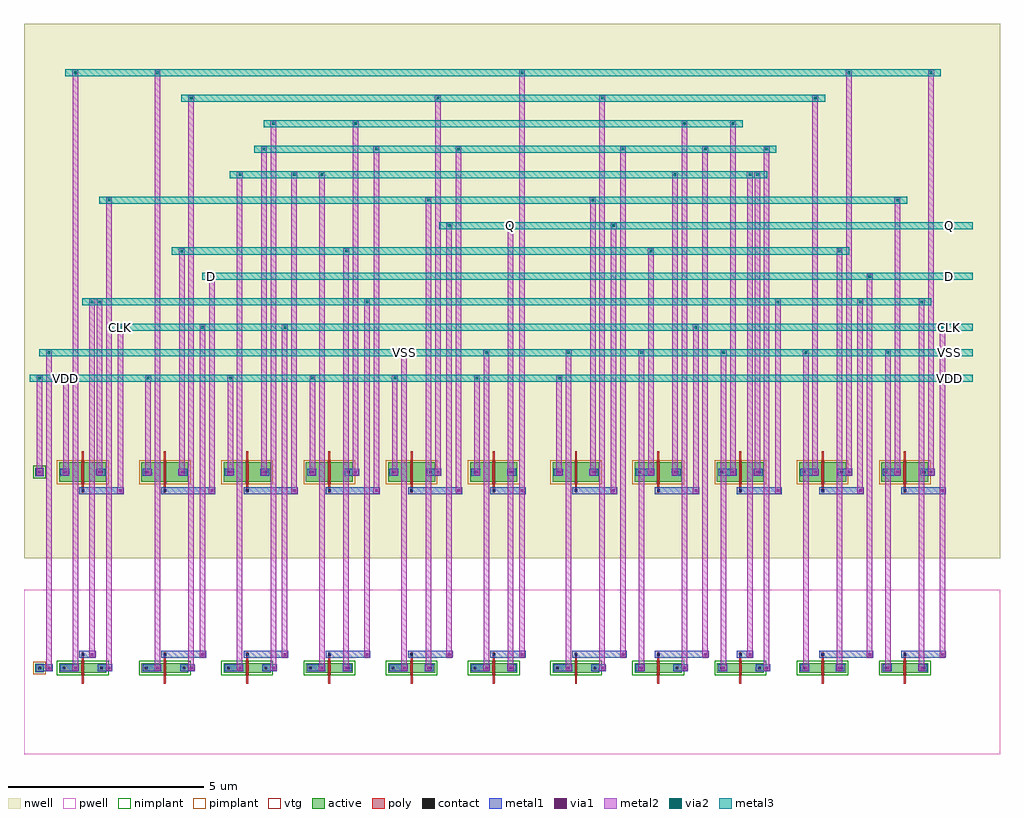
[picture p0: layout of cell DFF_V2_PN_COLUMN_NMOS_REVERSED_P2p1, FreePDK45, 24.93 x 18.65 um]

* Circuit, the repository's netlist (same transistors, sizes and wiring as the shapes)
* cell DFF_V2_PN_COLUMN_NMOS_REVERSED_P2p1
* pin Q
* pin CLK
* pin D
* pin VDD
* pin VSS
.SUBCKT DFF_V2_PN_COLUMN_NMOS_REVERSED_P2p1 6 8 9 12 13
* net 6 Q
* net 8 CLK
* net 9 D
* net 12 VDD
* net 13 VSS
* device instance $1 r0 *1 22.2,7 PMOS_VTG
M$1 1 8 2 12 PMOS_VTG L=0.05U W=0.5U AS=0.2875P AD=0.2875P PS=2.15U PD=2.15U
* device instance $2 r0 *1 18,7 PMOS_VTG
M$2 4 7 5 12 PMOS_VTG L=0.05U W=0.5U AS=0.2875P AD=0.2875P PS=2.15U PD=2.15U
* device instance $3 r0 *1 15.9,7 PMOS_VTG
M$3 4 8 10 12 PMOS_VTG L=0.05U W=0.5U AS=0.2875P AD=0.2875P PS=2.15U PD=2.15U
* device instance $4 r0 *1 13.8,7 PMOS_VTG
M$4 2 6 12 12 PMOS_VTG L=0.05U W=0.5U AS=0.2875P AD=0.2875P PS=2.15U PD=2.15U
* device instance $5 r0 *1 20.1,7 PMOS_VTG
M$5 1 7 3 12 PMOS_VTG L=0.05U W=0.5U AS=0.2875P AD=0.2875P PS=2.15U PD=2.15U
* device instance $6 r0 *1 1.2,7 PMOS_VTG
M$6 7 8 12 12 PMOS_VTG L=0.05U W=0.5U AS=0.2875P AD=0.2875P PS=2.15U PD=2.15U
* device instance $7 r0 *1 3.3,7 PMOS_VTG
M$7 10 9 12 12 PMOS_VTG L=0.05U W=0.5U AS=0.2875P AD=0.2875P PS=2.15U PD=2.15U
* device instance $8 r0 *1 5.4,7 PMOS_VTG
M$8 11 4 12 12 PMOS_VTG L=0.05U W=0.5U AS=0.2875P AD=0.2875P PS=2.15U PD=2.15U
* device instance $9 r0 *1 7.5,7 PMOS_VTG
M$9 5 11 12 12 PMOS_VTG L=0.05U W=0.5U AS=0.2875P AD=0.2875P PS=2.15U PD=2.15U
* device instance $10 r0 *1 9.6,7 PMOS_VTG
M$10 3 11 12 12 PMOS_VTG L=0.05U W=0.5U AS=0.2875P AD=0.2875P PS=2.15U PD=2.15U
* device instance $11 r0 *1 11.7,7 PMOS_VTG
M$11 6 1 12 12 PMOS_VTG L=0.05U W=0.5U AS=0.2875P AD=0.2875P PS=2.15U PD=2.15U
* device instance $12 r0 *1 22.2,2 NMOS_VTG
M$12 7 8 13 13 NMOS_VTG L=0.05U W=0.25U AS=0.14375P AD=0.14375P PS=1.65U
+ PD=1.65U
* device instance $13 r0 *1 18,2 NMOS_VTG
M$13 11 4 13 13 NMOS_VTG L=0.05U W=0.25U AS=0.14375P AD=0.14375P PS=1.65U
+ PD=1.65U
* device instance $14 r0 *1 15.9,2 NMOS_VTG
M$14 5 11 13 13 NMOS_VTG L=0.05U W=0.25U AS=0.14375P AD=0.14375P PS=1.65U
+ PD=1.65U
* device instance $15 r0 *1 20.1,2 NMOS_VTG
M$15 10 9 13 13 NMOS_VTG L=0.05U W=0.25U AS=0.14375P AD=0.14375P PS=1.65U
+ PD=1.65U
* device instance $16 r0 *1 13.8,2 NMOS_VTG
M$16 3 11 13 13 NMOS_VTG L=0.05U W=0.25U AS=0.14375P AD=0.14375P PS=1.65U
+ PD=1.65U
* device instance $17 r0 *1 1.2,2 NMOS_VTG
M$17 2 7 1 13 NMOS_VTG L=0.05U W=0.25U AS=0.14375P AD=0.14375P PS=1.65U PD=1.65U
* device instance $18 r0 *1 3.3,2 NMOS_VTG
M$18 3 8 1 13 NMOS_VTG L=0.05U W=0.25U AS=0.14375P AD=0.14375P PS=1.65U PD=1.65U
* device instance $19 r0 *1 5.4,2 NMOS_VTG
M$19 5 8 4 13 NMOS_VTG L=0.05U W=0.25U AS=0.14375P AD=0.14375P PS=1.65U PD=1.65U
* device instance $20 r0 *1 7.5,2 NMOS_VTG
M$20 10 7 4 13 NMOS_VTG L=0.05U W=0.25U AS=0.14375P AD=0.14375P PS=1.65U
+ PD=1.65U
* device instance $21 r0 *1 9.6,2 NMOS_VTG
M$21 2 6 13 13 NMOS_VTG L=0.05U W=0.25U AS=0.14375P AD=0.14375P PS=1.65U
+ PD=1.65U
* device instance $22 r0 *1 11.7,2 NMOS_VTG
M$22 6 1 13 13 NMOS_VTG L=0.05U W=0.25U AS=0.14375P AD=0.14375P PS=1.65U
+ PD=1.65U
.ENDS DFF_V2_PN_COLUMN_NMOS_REVERSED_P2p1

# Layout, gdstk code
import gdstk
lib = gdstk.Library(unit=1e-6, precision=5e-10)
def R(c, l, rs):  # rectangles x0, y0, x1, y1
    for r in rs: c.add(gdstk.rectangle(r[:2], r[2:], *l))
def A(c, l, x, y, w, h, nx, ny, dx, dy):  # array of equal rectangles
    R(c, l, [(x+i*dx, y+j*dy, x+i*dx+w, y+j*dy+h) for i in range(nx) for j in range(ny)])
active = (1, 0)
pwell = (2, 0)
nwell = (3, 0)
nimplant = (4, 0)
pimplant = (5, 0)
vtg = (6, 0)
poly = (9, 0)
contact = (10, 0)
metal1 = (11, 0)
via1 = (12, 0)
metal2 = (13, 0)
via2 = (14, 0)
metal3 = (15, 0)

dff_v2_pn_column_nmos_re = lib.new_cell('DFF_V2_PN_COLUMN_NMOS_REVERSED_P2p1')
A(dff_v2_pn_column_nmos_re, active, 0.6, 1.875, 1.2, 0.25, 11, 1, 2.1, 0)
A(dff_v2_pn_column_nmos_re, active, 0.6, 6.75, 1.2, 0.5, 11, 1, 2.1, 0)
R(dff_v2_pn_column_nmos_re, active, [(-0.01,1.89,0.21,2.11), (-0.01,6.89,0.21,7.11)])
R(dff_v2_pn_column_nmos_re, pwell, [(-0.3,-0.2,24.63,4)])
R(dff_v2_pn_column_nmos_re, nwell, [(-0.3,4.8,24.63,18.45)])
A(dff_v2_pn_column_nmos_re, nimplant, 0.54, 1.815, 1.32, 0.37, 11, 1, 2.1, 0)
R(dff_v2_pn_column_nmos_re, nimplant, [(-0.06,6.84,0.26,7.16)])
A(dff_v2_pn_column_nmos_re, pimplant, 0.54, 6.69, 1.32, 0.62, 11, 1, 2.1, 0)
R(dff_v2_pn_column_nmos_re, pimplant, [(-0.06,1.84,0.26,2.16)])
A(dff_v2_pn_column_nmos_re, vtg, 1.165, 1.845, 0.07, 0.31, 11, 1, 2.1, 0)
A(dff_v2_pn_column_nmos_re, vtg, 1.165, 6.72, 0.07, 0.56, 11, 1, 2.1, 0)
A(dff_v2_pn_column_nmos_re, poly, 1.175, 1.595, 0.05, 0.81, 11, 1, 2.1, 0)
A(dff_v2_pn_column_nmos_re, poly, 1.175, 6.47, 0.05, 1.06, 11, 1, 2.1, 0)
A(dff_v2_pn_column_nmos_re, contact, 1.17, 2.315, 0.065, 0.065, 11, 2, 2.1, 4.185)
R(dff_v2_pn_column_nmos_re, contact, [(0.07,1.97,0.135,2.035), (0.69,1.97,0.755,2.035), (1.65,1.97,1.715,2.035), (2.79,1.97,2.855,2.035), (3.75,1.97,3.815,2.035), (4.89,1.97,4.955,2.035), (5.85,1.97,5.915,2.035), (6.99,1.97,7.055,2.035), (7.95,1.97,8.015,2.035), (9.09,1.97,9.155,2.035), (10.05,1.97,10.115,2.035), (11.19,1.97,11.255,2.035), (12.15,1.97,12.215,2.035), (13.29,1.97,13.355,2.035), (14.25,1.97,14.315,2.035), (15.39,1.97,15.455,2.035), (16.35,1.97,16.415,2.035), (17.49,1.97,17.555,2.035), (18.45,1.97,18.515,2.035), (19.59,1.97,19.655,2.035), (20.55,1.97,20.615,2.035), (21.69,1.97,21.755,2.035), (22.65,1.97,22.715,2.035), (0.07,6.97,0.135,7.035), (0.69,6.97,0.755,7.035), (1.65,6.97,1.715,7.035), (2.79,6.97,2.855,7.035), (3.75,6.97,3.815,7.035), (4.89,6.97,4.955,7.035), (5.85,6.97,5.915,7.035), (6.99,6.97,7.055,7.035), (7.95,6.97,8.015,7.035), (9.09,6.97,9.155,7.035), (10.05,6.97,10.115,7.035), (11.19,6.97,11.255,7.035), (12.15,6.97,12.215,7.035), (13.29,6.97,13.355,7.035), (14.25,6.97,14.315,7.035), (15.39,6.97,15.455,7.035), (16.35,6.97,16.415,7.035), (17.49,6.97,17.555,7.035), (18.45,6.97,18.515,7.035), (19.59,6.97,19.655,7.035), (20.55,6.97,20.615,7.035), (21.69,6.97,21.755,7.035), (22.65,6.97,22.715,7.035)])
A(dff_v2_pn_column_nmos_re, metal1, 7.07, 1.91, 0.24, 0.18, 4, 1, 2.1, 0)
A(dff_v2_pn_column_nmos_re, metal1, 14.23, 1.91, 0.24, 0.18, 3, 1, 2.1, 0)
A(dff_v2_pn_column_nmos_re, metal1, 3.3, 2.255, 0.96, 0.18, 4, 1, 2.1, 0)
A(dff_v2_pn_column_nmos_re, metal1, 3.3, 6.44, 1.2, 0.18, 4, 1, 2.1, 0)
A(dff_v2_pn_column_nmos_re, metal1, 13.8, 6.44, 0.96, 0.18, 5, 1, 2.1, 0)
A(dff_v2_pn_column_nmos_re, metal1, 15.47, 6.91, 0.24, 0.18, 3, 1, 2.1, 0)
R(dff_v2_pn_column_nmos_re, metal1, [(0,1.9,0.2,2.1), (0.1,1.91,0.34,2.09), (0.1,1.91,0.34,2.09), (0.1,1.91,0.34,2.09), (0.1,1.91,0.34,2.09), (0.1,1.91,0.34,2.09), (0.1,1.91,0.34,2.09), (0.1,1.91,0.34,2.09), (0.1,1.91,0.34,2.09), (0.1,1.91,0.34,2.09), (0.1,1.91,0.34,2.09), (0.1,1.91,0.34,2.09), (0.1,1.91,0.34,2.09), (0.25,1.91,0.43,2.09), (0.25,1.91,0.43,2.09), (0.25,1.91,0.43,2.09), (0.25,1.91,0.43,2.09), (0.25,1.91,0.43,2.09), (0.25,1.91,0.43,2.09), (0.25,1.91,0.43,2.09), (0.25,1.91,0.43,2.09), (0.25,1.91,0.43,2.09), (0.25,1.91,0.43,2.09), (0.25,1.91,0.43,2.09), (0.25,1.91,0.43,2.09), (0.63,1.91,0.81,2.09), (0.77,1.91,1.01,2.09), (0.92,1.91,1.1,2.09), (1.59,1.91,1.77,2.09), (1.63,1.91,1.87,2.09), (1.78,1.91,1.96,2.09), (2.73,1.91,2.91,2.09), (2.87,1.91,3.11,2.09), (3.02,1.91,3.2,2.09), (3.69,1.91,3.87,2.09), (3.73,1.91,3.97,2.09), (3.88,1.91,4.06,2.09), (4.83,1.91,5.01,2.09), (4.97,1.91,5.21,2.09), (5.12,1.91,5.3,2.09), (5.79,1.91,5.97,2.09), (5.83,1.91,6.07,2.09), (5.98,1.91,6.16,2.09), (6.93,1.91,7.11,2.09), (7.22,1.91,7.4,2.09), (7.84,1.91,8.02,2.09), (7.89,1.91,8.07,2.09), (9.03,1.91,9.21,2.09), (9.32,1.91,9.5,2.09), (9.94,1.91,10.12,2.09), (9.99,1.91,10.17,2.09), (11.13,1.91,11.31,2.09), (11.42,1.91,11.6,2.09), (12.04,1.91,12.22,2.09), (12.09,1.91,12.27,2.09), (13.23,1.91,13.41,2.09), (13.52,1.91,13.7,2.09), (14.19,1.91,14.37,2.09), (14.38,1.91,14.56,2.09), (15.33,1.91,15.51,2.09), (15.38,1.91,15.56,2.09), (16.29,1.91,16.47,2.09), (16.48,1.91,16.66,2.09), (17.43,1.91,17.61,2.09), (17.48,1.91,17.66,2.09), (18.39,1.91,18.57,2.09), (18.58,1.91,18.76,2.09), (19.53,1.91,19.71,2.09), (19.58,1.91,19.76,2.09), (20.44,1.91,20.62,2.09), (20.49,1.91,20.67,2.09), (21.63,1.91,21.81,2.09), (21.68,1.91,21.86,2.09), (22.54,1.91,22.72,2.09), (22.59,1.91,22.77,2.09), (1.11,2.255,1.29,2.435), (1.2,2.255,1.44,2.435), (1.35,2.255,1.53,2.435), (3.21,2.255,3.39,2.435), (4.17,2.255,4.35,2.435), (5.31,2.255,5.49,2.435), (6.27,2.255,6.45,2.435), (7.41,2.255,7.59,2.435), (8.37,2.255,8.55,2.435), (9.51,2.255,9.69,2.435), (10.47,2.255,10.65,2.435), (11.61,2.255,11.79,2.435), (11.7,2.255,12.42,2.435), (12.33,2.255,12.51,2.435), (13.71,2.255,13.89,2.435), (13.8,2.255,15,2.435), (14.91,2.255,15.09,2.435), (15.81,2.255,15.99,2.435), (15.9,2.255,17.1,2.435), (17.01,2.255,17.19,2.435), (17.91,2.255,18.09,2.435), (18,2.255,18.24,2.435), (18.15,2.255,18.33,2.435), (20.01,2.255,20.19,2.435), (20.1,2.255,21.3,2.435), (21.21,2.255,21.39,2.435), (22.11,2.255,22.29,2.435), (22.2,2.255,23.16,2.435), (23.07,2.255,23.25,2.435), (1.11,6.44,1.29,6.62), (1.2,6.44,2.16,6.62), (2.07,6.44,2.25,6.62), (3.21,6.44,3.39,6.62), (4.41,6.44,4.59,6.62), (5.31,6.44,5.49,6.62), (6.51,6.44,6.69,6.62), (7.41,6.44,7.59,6.62), (8.61,6.44,8.79,6.62), (9.51,6.44,9.69,6.62), (10.71,6.44,10.89,6.62), (11.61,6.44,11.79,6.62), (11.7,6.44,12.42,6.62), (12.33,6.44,12.51,6.62), (13.71,6.44,13.89,6.62), (14.67,6.44,14.85,6.62), (15.81,6.44,15.99,6.62), (16.77,6.44,16.95,6.62), (17.91,6.44,18.09,6.62), (18.87,6.44,19.05,6.62), (20.01,6.44,20.19,6.62), (20.97,6.44,21.15,6.62), (22.11,6.44,22.29,6.62), (23.07,6.44,23.25,6.62), (0,6.9,0.2,7.1), (0.01,6.91,0.19,7.09), (0.01,6.91,0.19,7.09), (0.01,6.91,0.19,7.09), (0.01,6.91,0.19,7.09), (0.01,6.91,0.19,7.09), (0.01,6.91,0.19,7.09), (0.01,6.91,0.19,7.09), (0.01,6.91,0.19,7.09), (0.01,6.91,0.19,7.09), (0.01,6.91,0.19,7.09), (0.01,6.91,0.19,7.09), (0.01,6.91,0.19,7.09), (0.63,6.91,0.81,7.09), (0.68,6.91,0.86,7.09), (1.54,6.91,1.72,7.09), (1.59,6.91,1.77,7.09), (2.73,6.91,2.91,7.09), (2.78,6.91,2.96,7.09), (3.64,6.91,3.82,7.09), (3.69,6.91,3.87,7.09), (4.83,6.91,5.01,7.09), (4.88,6.91,5.06,7.09), (5.74,6.91,5.92,7.09), (5.79,6.91,5.97,7.09), (6.93,6.91,7.11,7.09), (6.98,6.91,7.16,7.09), (7.89,6.91,8.07,7.09), (7.93,6.91,8.17,7.09), (8.08,6.91,8.26,7.09), (9.03,6.91,9.21,7.09), (9.08,6.91,9.26,7.09), (9.99,6.91,10.17,7.09), (10.03,6.91,10.27,7.09), (10.18,6.91,10.36,7.09), (11.13,6.91,11.31,7.09), (11.18,6.91,11.36,7.09), (12.04,6.91,12.22,7.09), (12.09,6.91,12.27,7.09), (13.23,6.91,13.41,7.09), (13.28,6.91,13.46,7.09), (14.14,6.91,14.32,7.09), (14.19,6.91,14.37,7.09), (15.33,6.91,15.51,7.09), (15.62,6.91,15.8,7.09), (16.24,6.91,16.42,7.09), (16.29,6.91,16.47,7.09), (17.43,6.91,17.61,7.09), (17.72,6.91,17.9,7.09), (18.34,6.91,18.52,7.09), (18.39,6.91,18.57,7.09), (19.53,6.91,19.71,7.09), (19.82,6.91,20,7.09), (20.49,6.91,20.67,7.09), (20.53,6.91,20.77,7.09), (20.68,6.91,20.86,7.09), (21.63,6.91,21.81,7.09), (21.77,6.91,22.01,7.09), (21.92,6.91,22.1,7.09), (22.59,6.91,22.77,7.09), (22.63,6.91,22.87,7.09), (22.78,6.91,22.96,7.09)])
A(dff_v2_pn_column_nmos_re, via1, 4.23, 2.315, 0.065, 0.065, 4, 1, 2.1, 0)
A(dff_v2_pn_column_nmos_re, via1, 4.47, 6.5, 0.065, 0.065, 4, 1, 2.1, 0)
A(dff_v2_pn_column_nmos_re, via1, 14.73, 6.5, 0.065, 0.065, 5, 1, 2.1, 0)
R(dff_v2_pn_column_nmos_re, via1, [(0.31,1.97,0.375,2.035), (0.31,1.97,0.375,2.035), (0.31,1.97,0.375,2.035), (0.31,1.97,0.375,2.035), (0.31,1.97,0.375,2.035), (0.31,1.97,0.375,2.035), (0.31,1.97,0.375,2.035), (0.31,1.97,0.375,2.035), (0.31,1.97,0.375,2.035), (0.31,1.97,0.375,2.035), (0.31,1.97,0.375,2.035), (0.31,1.97,0.375,2.035), (0.98,1.97,1.045,2.035), (1.84,1.97,1.905,2.035), (3.08,1.97,3.145,2.035), (3.94,1.97,4.005,2.035), (5.18,1.97,5.245,2.035), (6.04,1.97,6.105,2.035), (7.28,1.97,7.345,2.035), (7.9,1.97,7.965,2.035), (9.38,1.97,9.445,2.035), (10,1.97,10.065,2.035), (11.48,1.97,11.545,2.035), (12.1,1.97,12.165,2.035), (13.58,1.97,13.645,2.035), (14.44,1.97,14.505,2.035), (15.44,1.97,15.505,2.035), (16.54,1.97,16.605,2.035), (17.54,1.97,17.605,2.035), (18.64,1.97,18.705,2.035), (19.64,1.97,19.705,2.035), (20.5,1.97,20.565,2.035), (21.74,1.97,21.805,2.035), (22.6,1.97,22.665,2.035), (1.41,2.315,1.475,2.38), (12.39,2.315,12.455,2.38), (14.97,2.315,15.035,2.38), (17.07,2.315,17.135,2.38), (18.21,2.315,18.275,2.38), (21.27,2.315,21.335,2.38), (23.13,2.315,23.195,2.38), (2.13,6.5,2.195,6.565), (12.39,6.5,12.455,6.565), (0.07,6.97,0.135,7.035), (0.07,6.97,0.135,7.035), (0.07,6.97,0.135,7.035), (0.07,6.97,0.135,7.035), (0.07,6.97,0.135,7.035), (0.07,6.97,0.135,7.035), (0.07,6.97,0.135,7.035), (0.07,6.97,0.135,7.035), (0.07,6.97,0.135,7.035), (0.07,6.97,0.135,7.035), (0.07,6.97,0.135,7.035), (0.07,6.97,0.135,7.035), (0.74,6.97,0.805,7.035), (1.6,6.97,1.665,7.035), (2.84,6.97,2.905,7.035), (3.7,6.97,3.765,7.035), (4.94,6.97,5.005,7.035), (5.8,6.97,5.865,7.035), (7.04,6.97,7.105,7.035), (8.14,6.97,8.205,7.035), (9.14,6.97,9.205,7.035), (10.24,6.97,10.305,7.035), (11.24,6.97,11.305,7.035), (12.1,6.97,12.165,7.035), (13.34,6.97,13.405,7.035), (14.2,6.97,14.265,7.035), (15.68,6.97,15.745,7.035), (16.3,6.97,16.365,7.035), (17.78,6.97,17.845,7.035), (18.4,6.97,18.465,7.035), (19.88,6.97,19.945,7.035), (20.74,6.97,20.805,7.035), (21.98,6.97,22.045,7.035), (22.84,6.97,22.905,7.035)])
A(dff_v2_pn_column_nmos_re, metal2, 9.34, 2, 0.14, 8.05, 3, 1, 2.1, 0)
A(dff_v2_pn_column_nmos_re, metal2, 15.4, 2, 0.14, 8.05, 4, 1, 2.1, 0)
A(dff_v2_pn_column_nmos_re, metal2, 4.185, 2.27, 0.15, 0.15, 4, 1, 2.1, 0)
A(dff_v2_pn_column_nmos_re, metal2, 4.425, 6.455, 0.15, 0.15, 4, 1, 2.1, 0)
A(dff_v2_pn_column_nmos_re, metal2, 14.685, 6.455, 0.15, 0.15, 5, 1, 2.1, 0)
A(dff_v2_pn_column_nmos_re, metal2, 0.7, 7, 0.14, 2.4, 7, 1, 2.1, 0)
A(dff_v2_pn_column_nmos_re, metal2, 0.695, 9.325, 0.15, 0.15, 7, 1, 2.1, 0)
A(dff_v2_pn_column_nmos_re, metal2, 9.335, 9.975, 0.15, 0.15, 3, 1, 2.1, 0)
A(dff_v2_pn_column_nmos_re, metal2, 15.395, 9.975, 0.15, 0.15, 4, 1, 2.1, 0)
A(dff_v2_pn_column_nmos_re, metal2, 2.085, 10.625, 0.15, 0.15, 3, 1, 2.1, 0)
R(dff_v2_pn_column_nmos_re, metal2, [(0.265,1.925,0.415,2.075), (0.265,1.925,0.415,2.075), (0.265,1.925,0.415,2.075), (0.265,1.925,0.415,2.075), (0.265,1.925,0.415,2.075), (0.265,1.925,0.415,2.075), (0.265,1.925,0.415,2.075), (0.265,1.925,0.415,2.075), (0.265,1.925,0.415,2.075), (0.265,1.925,0.415,2.075), (0.265,1.925,0.415,2.075), (0.265,1.925,0.415,2.075), (0.935,1.925,1.085,2.075), (1.795,1.925,1.945,2.075), (3.035,1.925,3.185,2.075), (3.895,1.925,4.045,2.075), (5.135,1.925,5.285,2.075), (5.995,1.925,6.145,2.075), (7.235,1.925,7.385,2.075), (7.855,1.925,8.005,2.075), (9.335,1.925,9.485,2.075), (9.955,1.925,10.105,2.075), (11.435,1.925,11.585,2.075), (12.055,1.925,12.205,2.075), (13.535,1.925,13.685,2.075), (14.395,1.925,14.545,2.075), (15.395,1.925,15.545,2.075), (16.495,1.925,16.645,2.075), (17.495,1.925,17.645,2.075), (18.595,1.925,18.745,2.075), (19.595,1.925,19.745,2.075), (20.455,1.925,20.605,2.075), (21.695,1.925,21.845,2.075), (22.555,1.925,22.705,2.075), (0.27,2,0.41,10.05), (0.27,2,0.41,10.05), (0.27,2,0.41,10.05), (0.27,2,0.41,10.05), (0.27,2,0.41,10.05), (0.27,2,0.41,10.05), (0.27,2,0.41,10.05), (0.27,2,0.41,10.05), (0.27,2,0.41,10.05), (0.27,2,0.41,10.05), (0.27,2,0.41,10.05), (0.27,2,0.41,10.05), (0.94,2,1.08,17.2), (1.8,2,1.94,13.95), (3.04,2,3.18,17.2), (3.9,2,4.04,16.55), (5.14,2,5.28,14.6), (6,2,6.14,15.9), (7.24,2,7.38,14.6), (7.86,2,8,12.65), (9.96,2,10.1,13.95), (12.06,2,12.2,13.3), (14.4,2,14.54,16.55), (16.5,2,16.64,15.9), (18.6,2,18.74,15.25), (20.46,2,20.6,12.65), (22.56,2,22.7,11.35), (1.365,2.27,1.515,2.42), (12.345,2.27,12.495,2.42), (14.925,2.27,15.075,2.42), (17.025,2.27,17.175,2.42), (18.165,2.27,18.315,2.42), (21.225,2.27,21.375,2.42), (23.085,2.27,23.235,2.42), (1.37,2.345,1.51,11.35), (4.19,2.345,4.33,10.7), (6.29,2.345,6.43,10.7), (8.39,2.345,8.53,11.35), (10.49,2.345,10.63,13.3), (12.35,2.345,12.49,17.2), (14.93,2.345,15.07,15.25), (17.03,2.345,17.17,15.25), (18.17,2.345,18.31,14.6), (21.23,2.345,21.37,12), (23.09,2.345,23.23,10.7), (2.085,6.455,2.235,6.605), (12.345,6.455,12.495,6.605), (2.09,6.53,2.23,10.7), (4.43,6.53,4.57,12), (6.53,6.53,6.67,14.6), (8.63,6.53,8.77,15.25), (10.73,6.53,10.87,15.25), (12.35,6.53,12.49,17.2), (14.69,6.53,14.83,13.3), (16.79,6.53,16.93,10.7), (18.89,6.53,19.03,11.35), (20.99,6.53,21.13,11.35), (23.09,6.53,23.23,10.7), (0.025,6.925,0.175,7.075), (0.025,6.925,0.175,7.075), (0.025,6.925,0.175,7.075), (0.025,6.925,0.175,7.075), (0.025,6.925,0.175,7.075), (0.025,6.925,0.175,7.075), (0.025,6.925,0.175,7.075), (0.025,6.925,0.175,7.075), (0.025,6.925,0.175,7.075), (0.025,6.925,0.175,7.075), (0.025,6.925,0.175,7.075), (0.025,6.925,0.175,7.075), (0.695,6.925,0.845,7.075), (1.555,6.925,1.705,7.075), (2.795,6.925,2.945,7.075), (3.655,6.925,3.805,7.075), (4.895,6.925,5.045,7.075), (5.755,6.925,5.905,7.075), (6.995,6.925,7.145,7.075), (8.095,6.925,8.245,7.075), (9.095,6.925,9.245,7.075), (10.195,6.925,10.345,7.075), (11.195,6.925,11.345,7.075), (12.055,6.925,12.205,7.075), (13.295,6.925,13.445,7.075), (14.155,6.925,14.305,7.075), (15.635,6.925,15.785,7.075), (16.255,6.925,16.405,7.075), (17.735,6.925,17.885,7.075), (18.355,6.925,18.505,7.075), (19.835,6.925,19.985,7.075), (20.695,6.925,20.845,7.075), (21.935,6.925,22.085,7.075), (22.795,6.925,22.945,7.075), (0.03,7,0.17,9.4), (0.03,7,0.17,9.4), (0.03,7,0.17,9.4), (0.03,7,0.17,9.4), (0.03,7,0.17,9.4), (0.03,7,0.17,9.4), (0.03,7,0.17,9.4), (0.03,7,0.17,9.4), (0.03,7,0.17,9.4), (0.03,7,0.17,9.4), (0.03,7,0.17,9.4), (0.03,7,0.17,9.4), (1.56,7,1.7,11.35), (3.66,7,3.8,12.65), (5.76,7,5.9,15.25), (8.1,7,8.24,15.9), (10.2,7,10.34,16.55), (12.06,7,12.2,13.3), (14.16,7,14.3,13.95), (15.64,7,15.78,12.65), (16.26,7,16.4,14.6), (17.74,7,17.88,15.9), (18.36,7,18.5,14.6), (19.84,7,19.98,16.55), (20.7,7,20.84,17.2), (21.94,7,22.08,13.95), (22.8,7,22.94,17.2), (0.025,9.325,0.175,9.475), (0.025,9.325,0.175,9.475), (0.025,9.325,0.175,9.475), (0.025,9.325,0.175,9.475), (0.025,9.325,0.175,9.475), (0.025,9.325,0.175,9.475), (0.025,9.325,0.175,9.475), (0.025,9.325,0.175,9.475), (0.025,9.325,0.175,9.475), (0.025,9.325,0.175,9.475), (0.025,9.325,0.175,9.475), (0.025,9.325,0.175,9.475), (0.265,9.975,0.415,10.125), (0.265,9.975,0.415,10.125), (0.265,9.975,0.415,10.125), (0.265,9.975,0.415,10.125), (0.265,9.975,0.415,10.125), (0.265,9.975,0.415,10.125), (0.265,9.975,0.415,10.125), (0.265,9.975,0.415,10.125), (0.265,9.975,0.415,10.125), (0.265,9.975,0.415,10.125), (0.265,9.975,0.415,10.125), (0.265,9.975,0.415,10.125), (16.785,10.625,16.935,10.775), (23.085,10.625,23.235,10.775), (23.085,10.625,23.235,10.775), (1.365,11.275,1.515,11.425), (1.555,11.275,1.705,11.425), (8.385,11.275,8.535,11.425), (18.885,11.275,19.035,11.425), (20.985,11.275,21.135,11.425), (22.555,11.275,22.705,11.425), (4.425,11.925,4.575,12.075), (21.225,11.925,21.375,12.075), (3.655,12.575,3.805,12.725), (7.855,12.575,8.005,12.725), (15.635,12.575,15.785,12.725), (20.455,12.575,20.605,12.725), (10.485,13.225,10.635,13.375), (12.055,13.225,12.205,13.375), (12.055,13.225,12.205,13.375), (14.685,13.225,14.835,13.375), (1.795,13.875,1.945,14.025), (9.955,13.875,10.105,14.025), (14.155,13.875,14.305,14.025), (21.935,13.875,22.085,14.025), (5.135,14.525,5.285,14.675), (6.525,14.525,6.675,14.675), (7.235,14.525,7.385,14.675), (16.255,14.525,16.405,14.675), (18.165,14.525,18.315,14.675), (18.355,14.525,18.505,14.675), (5.755,15.175,5.905,15.325), (8.625,15.175,8.775,15.325), (10.725,15.175,10.875,15.325), (14.925,15.175,15.075,15.325), (17.025,15.175,17.175,15.325), (18.595,15.175,18.745,15.325), (5.995,15.825,6.145,15.975), (8.095,15.825,8.245,15.975), (16.495,15.825,16.645,15.975), (17.735,15.825,17.885,15.975), (3.895,16.475,4.045,16.625), (10.195,16.475,10.345,16.625), (14.395,16.475,14.545,16.625), (19.835,16.475,19.985,16.625), (0.935,17.125,1.085,17.275), (3.035,17.125,3.185,17.275), (12.345,17.125,12.495,17.275), (12.345,17.125,12.495,17.275), (20.695,17.125,20.845,17.275), (22.795,17.125,22.945,17.275)])
A(dff_v2_pn_column_nmos_re, via2, 0.74, 9.37, 0.065, 0.065, 7, 1, 2.1, 0)
A(dff_v2_pn_column_nmos_re, via2, 9.38, 10.02, 0.065, 0.065, 3, 1, 2.1, 0)
A(dff_v2_pn_column_nmos_re, via2, 15.44, 10.02, 0.065, 0.065, 4, 1, 2.1, 0)
A(dff_v2_pn_column_nmos_re, via2, 2.13, 10.67, 0.065, 0.065, 3, 1, 2.1, 0)
R(dff_v2_pn_column_nmos_re, via2, [(0.07,9.37,0.135,9.435), (0.07,9.37,0.135,9.435), (0.07,9.37,0.135,9.435), (0.07,9.37,0.135,9.435), (0.07,9.37,0.135,9.435), (0.07,9.37,0.135,9.435), (0.07,9.37,0.135,9.435), (0.07,9.37,0.135,9.435), (0.07,9.37,0.135,9.435), (0.07,9.37,0.135,9.435), (0.07,9.37,0.135,9.435), (0.07,9.37,0.135,9.435), (0.31,10.02,0.375,10.085), (0.31,10.02,0.375,10.085), (0.31,10.02,0.375,10.085), (0.31,10.02,0.375,10.085), (0.31,10.02,0.375,10.085), (0.31,10.02,0.375,10.085), (0.31,10.02,0.375,10.085), (0.31,10.02,0.375,10.085), (0.31,10.02,0.375,10.085), (0.31,10.02,0.375,10.085), (0.31,10.02,0.375,10.085), (0.31,10.02,0.375,10.085), (16.83,10.67,16.895,10.735), (23.13,10.67,23.195,10.735), (23.13,10.67,23.195,10.735), (1.41,11.32,1.475,11.385), (1.6,11.32,1.665,11.385), (8.43,11.32,8.495,11.385), (18.93,11.32,18.995,11.385), (21.03,11.32,21.095,11.385), (22.6,11.32,22.665,11.385), (4.47,11.97,4.535,12.035), (21.27,11.97,21.335,12.035), (3.7,12.62,3.765,12.685), (7.9,12.62,7.965,12.685), (15.68,12.62,15.745,12.685), (20.5,12.62,20.565,12.685), (10.53,13.27,10.595,13.335), (12.1,13.27,12.165,13.335), (12.1,13.27,12.165,13.335), (14.73,13.27,14.795,13.335), (1.84,13.92,1.905,13.985), (10,13.92,10.065,13.985), (14.2,13.92,14.265,13.985), (21.98,13.92,22.045,13.985), (5.18,14.57,5.245,14.635), (6.57,14.57,6.635,14.635), (7.28,14.57,7.345,14.635), (16.3,14.57,16.365,14.635), (18.21,14.57,18.275,14.635), (18.4,14.57,18.465,14.635), (5.8,15.22,5.865,15.285), (8.67,15.22,8.735,15.285), (10.77,15.22,10.835,15.285), (14.97,15.22,15.035,15.285), (17.07,15.22,17.135,15.285), (18.64,15.22,18.705,15.285), (6.04,15.87,6.105,15.935), (8.14,15.87,8.205,15.935), (16.54,15.87,16.605,15.935), (17.78,15.87,17.845,15.935), (3.94,16.52,4.005,16.585), (10.24,16.52,10.305,16.585), (14.44,16.52,14.505,16.585), (19.88,16.52,19.945,16.585), (0.98,17.17,1.045,17.235), (3.08,17.17,3.145,17.235), (12.39,17.17,12.455,17.235), (12.39,17.17,12.455,17.235), (20.74,17.17,20.805,17.235), (22.84,17.17,22.905,17.235)])
A(dff_v2_pn_column_nmos_re, metal3, 0.695, 9.325, 0.15, 0.15, 7, 1, 2.1, 0)
A(dff_v2_pn_column_nmos_re, metal3, 9.335, 9.975, 0.15, 0.15, 3, 1, 2.1, 0)
A(dff_v2_pn_column_nmos_re, metal3, 15.395, 9.975, 0.15, 0.15, 4, 1, 2.1, 0)
A(dff_v2_pn_column_nmos_re, metal3, 2.085, 10.625, 0.15, 0.15, 3, 1, 2.1, 0)
R(dff_v2_pn_column_nmos_re, metal3, [(-0.15,9.31,13.62,9.49), (13.62,9.31,23.93,9.49), (0.025,9.325,0.175,9.475), (0.025,9.325,0.175,9.475), (0.025,9.325,0.175,9.475), (0.025,9.325,0.175,9.475), (0.025,9.325,0.175,9.475), (0.025,9.325,0.175,9.475), (0.025,9.325,0.175,9.475), (0.025,9.325,0.175,9.475), (0.025,9.325,0.175,9.475), (0.025,9.325,0.175,9.475), (0.025,9.325,0.175,9.475), (0.025,9.325,0.175,9.475), (0.09,9.96,22.02,10.14), (22.02,9.96,23.93,10.14), (0.265,9.975,0.415,10.125), (0.265,9.975,0.415,10.125), (0.265,9.975,0.415,10.125), (0.265,9.975,0.415,10.125), (0.265,9.975,0.415,10.125), (0.265,9.975,0.415,10.125), (0.265,9.975,0.415,10.125), (0.265,9.975,0.415,10.125), (0.265,9.975,0.415,10.125), (0.265,9.975,0.415,10.125), (0.265,9.975,0.415,10.125), (0.265,9.975,0.415,10.125), (1.91,10.61,23.41,10.79), (23.41,10.61,23.93,10.79), (16.785,10.625,16.935,10.775), (23.085,10.625,23.235,10.775), (23.085,10.625,23.235,10.775), (1.19,11.26,22.88,11.44), (1.365,11.275,1.515,11.425), (1.555,11.275,1.705,11.425), (8.385,11.275,8.535,11.425), (18.885,11.275,19.035,11.425), (20.985,11.275,21.135,11.425), (22.555,11.275,22.705,11.425), (4.25,11.91,21.55,12.09), (21.55,11.91,23.93,12.09), (4.425,11.925,4.575,12.075), (21.225,11.925,21.375,12.075), (3.48,12.56,20.78,12.74), (3.655,12.575,3.805,12.725), (7.855,12.575,8.005,12.725), (15.635,12.575,15.785,12.725), (20.455,12.575,20.605,12.725), (10.31,13.21,15.01,13.39), (15.01,13.21,23.93,13.39), (10.485,13.225,10.635,13.375), (12.055,13.225,12.205,13.375), (12.055,13.225,12.205,13.375), (14.685,13.225,14.835,13.375), (1.62,13.86,22.26,14.04), (1.795,13.875,1.945,14.025), (9.955,13.875,10.105,14.025), (14.155,13.875,14.305,14.025), (21.935,13.875,22.085,14.025), (4.96,14.51,18.68,14.69), (5.135,14.525,5.285,14.675), (6.525,14.525,6.675,14.675), (7.235,14.525,7.385,14.675), (16.255,14.525,16.405,14.675), (18.165,14.525,18.315,14.675), (18.355,14.525,18.505,14.675), (5.58,15.16,18.92,15.34), (5.755,15.175,5.905,15.325), (8.625,15.175,8.775,15.325), (10.725,15.175,10.875,15.325), (14.925,15.175,15.075,15.325), (17.025,15.175,17.175,15.325), (18.595,15.175,18.745,15.325), (5.82,15.81,18.06,15.99), (5.995,15.825,6.145,15.975), (8.095,15.825,8.245,15.975), (16.495,15.825,16.645,15.975), (17.735,15.825,17.885,15.975), (3.72,16.46,20.16,16.64), (3.895,16.475,4.045,16.625), (10.195,16.475,10.345,16.625), (14.395,16.475,14.545,16.625), (19.835,16.475,19.985,16.625), (0.76,17.11,23.12,17.29), (0.935,17.125,1.085,17.275), (3.035,17.125,3.185,17.275), (12.345,17.125,12.495,17.275), (12.345,17.125,12.495,17.275), (20.695,17.125,20.845,17.275), (22.795,17.125,22.945,17.275)])
dff_v2_pn_column_nmos_re.add(gdstk.Label('VDD', (23.33,9.4), layer=15, texttype=0))
dff_v2_pn_column_nmos_re.add(gdstk.Label('VDD', (23.33,9.4), layer=15, texttype=1))
dff_v2_pn_column_nmos_re.add(gdstk.Label('VDD', (23.33,9.4), layer=15, texttype=2))
dff_v2_pn_column_nmos_re.add(gdstk.Label('VDD', (0.77,9.4), layer=13, texttype=0))
dff_v2_pn_column_nmos_re.add(gdstk.Label('VDD', (0.77,9.4), layer=13, texttype=1))
dff_v2_pn_column_nmos_re.add(gdstk.Label('VDD', (0.77,9.4), layer=13, texttype=2))
dff_v2_pn_column_nmos_re.add(gdstk.Label('VSS', (23.33,10.05), layer=15, texttype=0))
dff_v2_pn_column_nmos_re.add(gdstk.Label('VSS', (23.33,10.05), layer=15, texttype=1))
dff_v2_pn_column_nmos_re.add(gdstk.Label('VSS', (23.33,10.05), layer=15, texttype=2))
dff_v2_pn_column_nmos_re.add(gdstk.Label('VSS', (9.41,10.05), layer=13, texttype=0))
dff_v2_pn_column_nmos_re.add(gdstk.Label('VSS', (9.41,10.05), layer=13, texttype=1))
dff_v2_pn_column_nmos_re.add(gdstk.Label('VSS', (9.41,10.05), layer=13, texttype=2))
dff_v2_pn_column_nmos_re.add(gdstk.Label('D', (23.33,12), layer=15, texttype=0))
dff_v2_pn_column_nmos_re.add(gdstk.Label('D', (23.33,12), layer=15, texttype=1))
dff_v2_pn_column_nmos_re.add(gdstk.Label('D', (23.33,12), layer=15, texttype=2))
dff_v2_pn_column_nmos_re.add(gdstk.Label('D', (4.5,12), layer=13, texttype=0))
dff_v2_pn_column_nmos_re.add(gdstk.Label('D', (4.5,12), layer=13, texttype=1))
dff_v2_pn_column_nmos_re.add(gdstk.Label('D', (4.5,12), layer=13, texttype=2))
dff_v2_pn_column_nmos_re.add(gdstk.Label('Q', (23.33,13.3), layer=15, texttype=0))
dff_v2_pn_column_nmos_re.add(gdstk.Label('Q', (23.33,13.3), layer=15, texttype=1))
dff_v2_pn_column_nmos_re.add(gdstk.Label('Q', (23.33,13.3), layer=15, texttype=2))
dff_v2_pn_column_nmos_re.add(gdstk.Label('Q', (12.13,13.3), layer=13, texttype=0))
dff_v2_pn_column_nmos_re.add(gdstk.Label('Q', (12.13,13.3), layer=13, texttype=1))
dff_v2_pn_column_nmos_re.add(gdstk.Label('Q', (12.13,13.3), layer=13, texttype=2))
dff_v2_pn_column_nmos_re.add(gdstk.Label('CLK', (23.33,10.7), layer=15, texttype=0))
dff_v2_pn_column_nmos_re.add(gdstk.Label('CLK', (23.33,10.7), layer=15, texttype=1))
dff_v2_pn_column_nmos_re.add(gdstk.Label('CLK', (23.33,10.7), layer=15, texttype=2))
dff_v2_pn_column_nmos_re.add(gdstk.Label('CLK', (2.16,10.7), layer=13, texttype=0))
dff_v2_pn_column_nmos_re.add(gdstk.Label('CLK', (2.16,10.7), layer=13, texttype=1))
dff_v2_pn_column_nmos_re.add(gdstk.Label('CLK', (2.16,10.7), layer=13, texttype=2))

lib.write_gds('DFF_V2_PN_COLUMN_NMOS_REVERSED_P2p1.gds')
